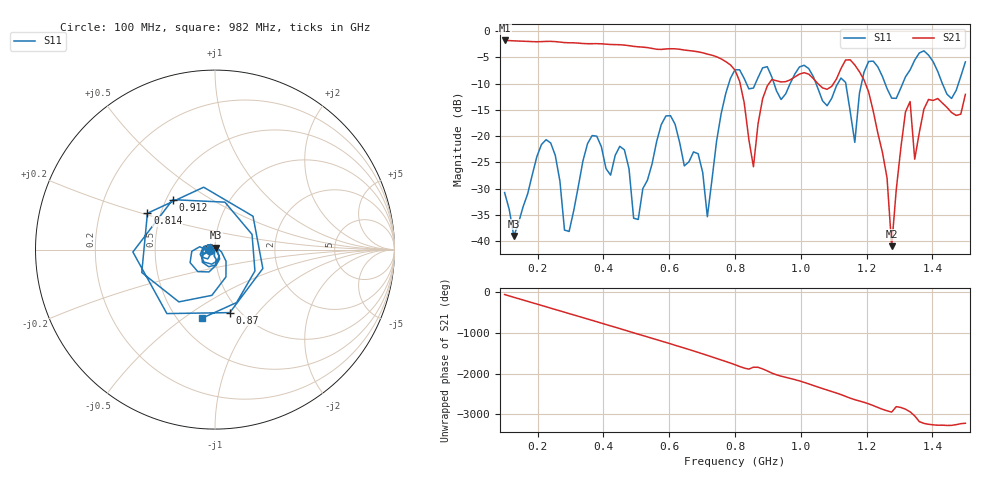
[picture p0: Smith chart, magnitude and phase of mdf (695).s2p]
! NanoVNA-App
! Date: 2025-09-25 15:43:49
! Start: 100MHz Stop: 1,5GHz Points: 101
! S-Parameter data: F S11 S21 S12 S22
# Hz S RI R 50
!  Frequency  S11_Real  S11_Imag  S21_Real  S21_Imag  S12_Real  S12_Imag  S22_Real  S22_Imag
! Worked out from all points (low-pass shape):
!   101 points, 100 MHz to 1.5 GHz, reference 50 ohm
!   highest |S21| = -1.80 dB at 100 MHz (marker M1); lowest = -40.9 dB at 1.276 GHz (marker M2)
!   |S21| within 3 dB of the highest: start of sweep to 739.6 MHz
!   lowest |S11| = -39.0 dB at 128 MHz (marker M3), VSWR 1.02, Z = 50.3 + j1.08 ohm
!   |S11| at or under -10 dB: start of sweep to 781.2 MHz; 1.046 GHz to 1.112 GHz (66.15 MHz wide, 6.13 % of centre); 1.256 GHz to 1.309 GHz (53.27 MHz wide, 4.15 % of centre) (the widest 3 of 7)
!   S12 and S22 are empty: the file has one direction only
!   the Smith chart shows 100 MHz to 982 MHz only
!   S11 on the Smith chart (normalised r, x): 100 MHz: 0.94, -0.01; 814 MHz: 0.42, +0.21; 870 MHz: 0.90, -0.73; 912 MHz: 0.54, +0.35; 982 MHz: 0.65, -0.59
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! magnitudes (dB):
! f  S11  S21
! 100 MHz  -30.7  -1.8
! 128 MHz  -39.0  -1.9
! 212 MHz  -21.6  -2.0
! 282 MHz  -37.9  -2.2
! 338 MHz  -24.7  -2.4
! 464 MHz  -22.6  -2.7
! 506 MHz  -35.8  -3.0
! 576 MHz  -17.8  -3.5
! 716 MHz  -35.3  -4.4
! 800 MHz  -7.4  -7.4
! 814 MHz  -7.4  -9.5
! 856 MHz  -10.9  -25.8
! 870 MHz  -8.9  -17.7
! 912 MHz  -8.8  -9.2
! 982 MHz  -8.2  -8.7
! 1.038 GHz  -8.7  -9.0
! 1.164 GHz  -21.2  -6.5
! 1.192 GHz  -7.8  -9.3
! 1.276 GHz  -12.8  -40.9
! 1.332 GHz  -7.4  -13.4
! 1.346 GHz  -5.5  -24.4
! 1.5 GHz  -5.9  -12.0
